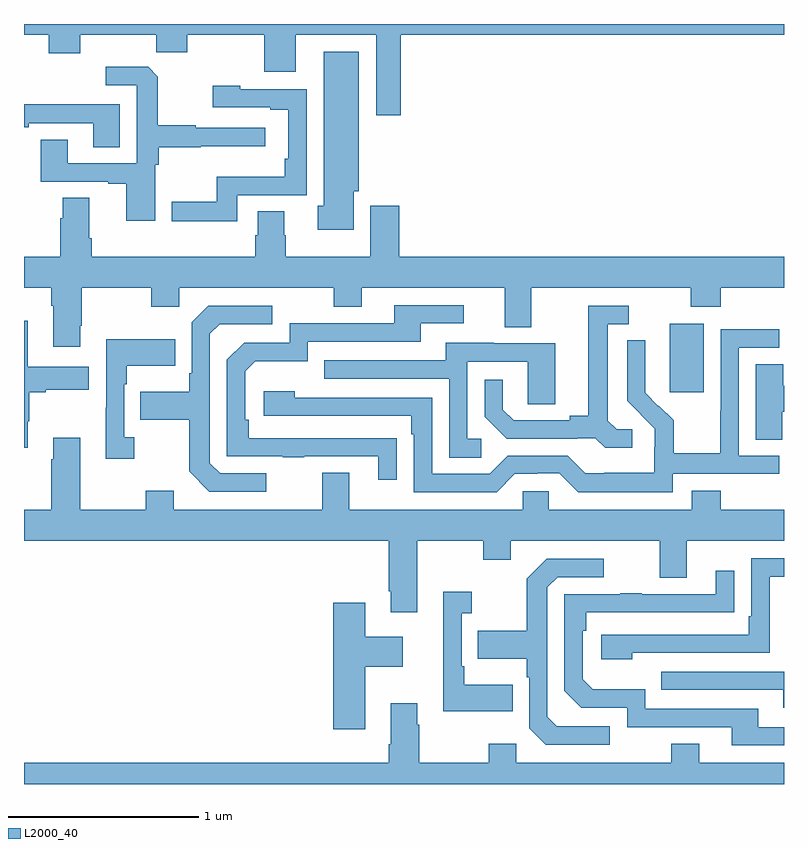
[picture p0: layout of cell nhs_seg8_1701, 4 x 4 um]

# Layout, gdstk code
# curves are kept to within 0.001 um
import gdstk
lib = gdstk.Library(unit=1e-6, precision=1e-09)
def R(c, l, rs):  # rectangles x0, y0, x1, y1
    for r in rs: c.add(gdstk.rectangle(r[:2], r[2:], *l))
def P(c, l, *ps):  # polygons
    for p in ps: c.add(gdstk.Polygon(p, *l))
L2000_40 = (2000, 40)

nhs_seg8_1701 = lib.new_cell('nhs_seg8_1701')
R(nhs_seg8_1701, L2000_40, [(222.398,1103.961,222.577,1104.322)])
P(nhs_seg8_1701, L2000_40, [(220.982,1105.844),(223,1105.844),(223,1105.9),(219,1105.9),(219,1105.844),(219.131,1105.844),(219.131,1105.745),(219.295,1105.745),(219.295,1105.844),(219.695,1105.844),(219.695,1105.751),(219.859,1105.751),(219.859,1105.844),(220.265,1105.844),(220.265,1105.65),(220.429,1105.65),(220.429,1105.844),(220.853,1105.844),(220.853,1105.419),(220.982,1105.419)],
  [(220.735,1105.02),(220.762,1105.02),(220.762,1105.753),(220.577,1105.753),(220.577,1104.944),(220.547,1104.944),(220.547,1104.818),(220.735,1104.818)],
  [(219.69,1105.16),(219.71,1105.16),(219.71,1105.252),(219.929,1105.252),(219.929,1105.256),(220.27,1105.256),(220.27,1105.353),(219.905,1105.353),(219.905,1105.366),(219.705,1105.366),(219.705,1105.623),(219.653,1105.675),(219.429,1105.675),(219.429,1105.578),(219.594,1105.578),(219.594,1105.167),(219.229,1105.167),(219.229,1105.292),(219.089,1105.292),(219.089,1105.071),(219.443,1105.071),(219.443,1105.059),(219.539,1105.059),(219.539,1104.864),(219.69,1104.864)],
  [(220.122,1104.999),(220.488,1104.999),(220.488,1105.557),(220.137,1105.557),(220.137,1105.576),(219.993,1105.576),(219.993,1105.461),(220.295,1105.461),(220.295,1105.449),(220.392,1105.449),(220.392,1105.192),(220.372,1105.192),(220.372,1105.096),(220.014,1105.096),(220.014,1104.965),(219.777,1104.965),(219.777,1104.863),(220.122,1104.863)],
  [(219.505,1105.478),(219,1105.478),(219,1105.357),(219.025,1105.357),(219.025,1105.377),(219.365,1105.377),(219.365,1105.252),(219.505,1105.252)],
  [(219.295,1104.313),(219.303,1104.313),(219.303,1104.512),(219.67,1104.512),(219.67,1104.413),(219.816,1104.413),(219.816,1104.512),(220.63,1104.512),(220.63,1104.413),(220.777,1104.413),(220.777,1104.512),(221.531,1104.512),(221.531,1104.304),(221.671,1104.304),(221.671,1104.512),(222.508,1104.512),(222.508,1104.413),(222.668,1104.413),(222.668,1104.512),(223,1104.512),(223,1104.676),(220.976,1104.676),(220.976,1104.943),(220.823,1104.943),(220.823,1104.676),(220.377,1104.676),(220.377,1104.789),(220.369,1104.789),(220.369,1104.914),(220.229,1104.914),(220.229,1104.789),(220.217,1104.789),(220.217,1104.676),(219.356,1104.676),(219.356,1104.772),(219.343,1104.772),(219.343,1104.986),(219.203,1104.986),(219.203,1104.878),(219.191,1104.878),(219.191,1104.676),(219,1104.676),(219,1104.512),(219.143,1104.512),(219.143,1104.416),(219.155,1104.416),(219.155,1104.201),(219.295,1104.201)],
  [(220.961,1103.72),(220.184,1103.721),(220.184,1103.818),(220.164,1103.818),(220.164,1104.072),(220.217,1104.125),(220.494,1104.125),(220.494,1104.228),(221.089,1104.228),(221.089,1104.324),(221.314,1104.324),(221.314,1104.42),(220.949,1104.42),(220.949,1104.324),(220.398,1104.324),(220.398,1104.222),(220.158,1104.222),(220.068,1104.132),(220.068,1103.625),(220.363,1103.625),(220.363,1103.62),(220.475,1103.62),(220.475,1103.625),(220.865,1103.625),(220.865,1103.502),(220.961,1103.502)],
  [(220.276,1103.535),(220.032,1103.535),(219.978,1103.589),(219.978,1104.27),(220.029,1104.321),(220.306,1104.321),(220.306,1104.417),(219.969,1104.417),(219.882,1104.33),(219.882,1104.061),(219.87,1104.061),(219.87,1103.965),(219.613,1103.965),(219.613,1103.818),(219.87,1103.818),(219.87,1103.545),(219.975,1103.439),(220.276,1103.439)],
  [(222.202,1103.766),(222.12,1103.766),(222.073,1103.813),(222.073,1104.321),(222.184,1104.321),(222.184,1104.417),(221.969,1104.417),(221.969,1103.837),(221.873,1103.837),(221.873,1103.814),(221.578,1103.814),(221.521,1103.871),(221.521,1104.028),(221.424,1104.028),(221.424,1103.834),(221.54,1103.718),(221.912,1103.718),(221.912,1103.721),(222.006,1103.721),(222.058,1103.669),(222.202,1103.669)],
  [(219.019,1103.809),(219.027,1103.809),(219.027,1103.963),(219.115,1103.963),(219.115,1103.975),(219.34,1103.975),(219.34,1104.097),(219.019,1104.097),(219.019,1104.337),(219,1104.337),(219,1103.67),(219.019,1103.67)],
  [(222.414,1103.532),(222.976,1103.532),(222.976,1103.628),(222.762,1103.628),(222.762,1104.195),(222.976,1104.195),(222.976,1104.294),(222.666,1104.294),(222.666,1103.864),(222.664,1103.864),(222.664,1103.641),(222.419,1103.641),(222.419,1103.815),(222.342,1103.892),(222.339,1103.889),(222.269,1103.96),(222.27,1104.236),(222.174,1104.236),(222.174,1103.918),(222.32,1103.77),(222.32,1103.673),(222.318,1103.673),(222.318,1103.539),(222.055,1103.539),(222.055,1103.535),(221.955,1103.535),(221.862,1103.628),(221.547,1103.628),(221.451,1103.532),(221.148,1103.532),(221.148,1103.934),(220.424,1103.934),(220.424,1103.968),(220.263,1103.968),(220.263,1103.838),(221.039,1103.838),(221.039,1103.741),(221.052,1103.741),(221.052,1103.436),(221.487,1103.436),(221.583,1103.532),(221.702,1103.532),(221.702,1103.535),(221.817,1103.535),(221.917,1103.435),(222.414,1103.435)],
  [(219.58,1103.726),(219.528,1103.726),(219.528,1104.005),(219.541,1104.005),(219.541,1104.101),(219.797,1104.101),(219.797,1104.241),(219.432,1104.241),(219.432,1103.879),(219.431,1103.879),(219.431,1103.613),(219.58,1103.613)],
  [(221.407,1103.718),(221.334,1103.718),(221.334,1104.123),(221.652,1104.123),(221.652,1103.899),(221.797,1103.899),(221.797,1104.219),(221.473,1104.219),(221.473,1104.223),(221.219,1104.223),(221.219,1104.129),(220.579,1104.129),(220.579,1104.033),(221.238,1104.033),(221.238,1103.617),(221.407,1103.617)],
  [(222.99,1103.86),(223,1103.86),(223,1103.996),(222.995,1103.996),(222.995,1104.11),(222.851,1104.11),(222.851,1103.713),(222.99,1103.713)],
  [(220.711,1103.539),(220.571,1103.539),(220.571,1103.344),(219.787,1103.344),(219.787,1103.443),(219.64,1103.443),(219.64,1103.344),(219.295,1103.344),(219.295,1103.722),(219.155,1103.722),(219.155,1103.609),(219.143,1103.609),(219.143,1103.344),(219,1103.344),(219,1103.18),(220.919,1103.18),(220.919,1102.915),(220.931,1102.915),(220.931,1102.803),(221.071,1102.803),(221.071,1103.18),(221.416,1103.18),(221.416,1103.081),(221.563,1103.081),(221.563,1103.18),(222.347,1103.18),(222.347,1102.986),(222.487,1102.986),(222.487,1103.18),(223,1103.18),(223,1103.344),(222.668,1103.344),(222.668,1103.443),(222.515,1103.443),(222.515,1103.344),(221.763,1103.344),(221.763,1103.442),(221.625,1103.442),(221.625,1103.344),(220.711,1103.344)],
  [(222.2,1102.59),(222.924,1102.59),(222.924,1102.992),(223,1102.992),(223,1103.088),(222.828,1103.088),(222.828,1102.783),(222.815,1102.783),(222.815,1102.686),(222.039,1102.686),(222.039,1102.556),(222.2,1102.556)],
  [(222.082,1102.203),(221.805,1102.203),(221.754,1102.254),(221.754,1102.935),(221.808,1102.989),(222.052,1102.989),(222.052,1103.085),(221.751,1103.085),(221.646,1102.979),(221.646,1102.707),(221.389,1102.707),(221.389,1102.559),(221.646,1102.559),(221.646,1102.463),(221.658,1102.463),(221.658,1102.194),(221.745,1102.107),(222.082,1102.107)],
  [(223,1102.2),(222.865,1102.2),(222.865,1102.296),(222.27,1102.296),(222.27,1102.399),(221.993,1102.399),(221.94,1102.452),(221.94,1102.706),(221.96,1102.706),(221.96,1102.803),(222.737,1102.804),(222.737,1103.023),(222.641,1103.023),(222.641,1102.899),(222.251,1102.899),(222.251,1102.904),(222.139,1102.904),(222.139,1102.899),(221.844,1102.899),(221.844,1102.392),(221.934,1102.302),(222.174,1102.302),(222.174,1102.2),(222.725,1102.2),(222.725,1102.104),(223,1102.104)],
  [(221.573,1102.423),(221.317,1102.423),(221.317,1102.519),(221.304,1102.519),(221.304,1102.799),(221.356,1102.799),(221.356,1102.912),(221.207,1102.912),(221.207,1102.283),(221.573,1102.283)],
  [(220.795,1102.517),(220.993,1102.517),(220.993,1102.675),(220.795,1102.675),(220.795,1102.855),(220.628,1102.855),(220.628,1102.188),(220.795,1102.188)],
  [(223,1102.491),(222.355,1102.491),(222.355,1102.395),(222.995,1102.395),(222.995,1102.301),(223,1102.301)],
  [(223,1102.012),(222.553,1102.012),(222.553,1102.111),(222.406,1102.111),(222.406,1102.012),(221.592,1102.012),(221.592,1102.111),(221.446,1102.111),(221.446,1102.012),(221.079,1102.012),(221.079,1102.211),(221.071,1102.211),(221.071,1102.324),(220.931,1102.324),(220.931,1102.108),(220.919,1102.108),(220.919,1102.012),(219,1102.012),(219,1101.9),(223,1101.9)])

lib.write_gds('nhs_seg8_1701.gds')
